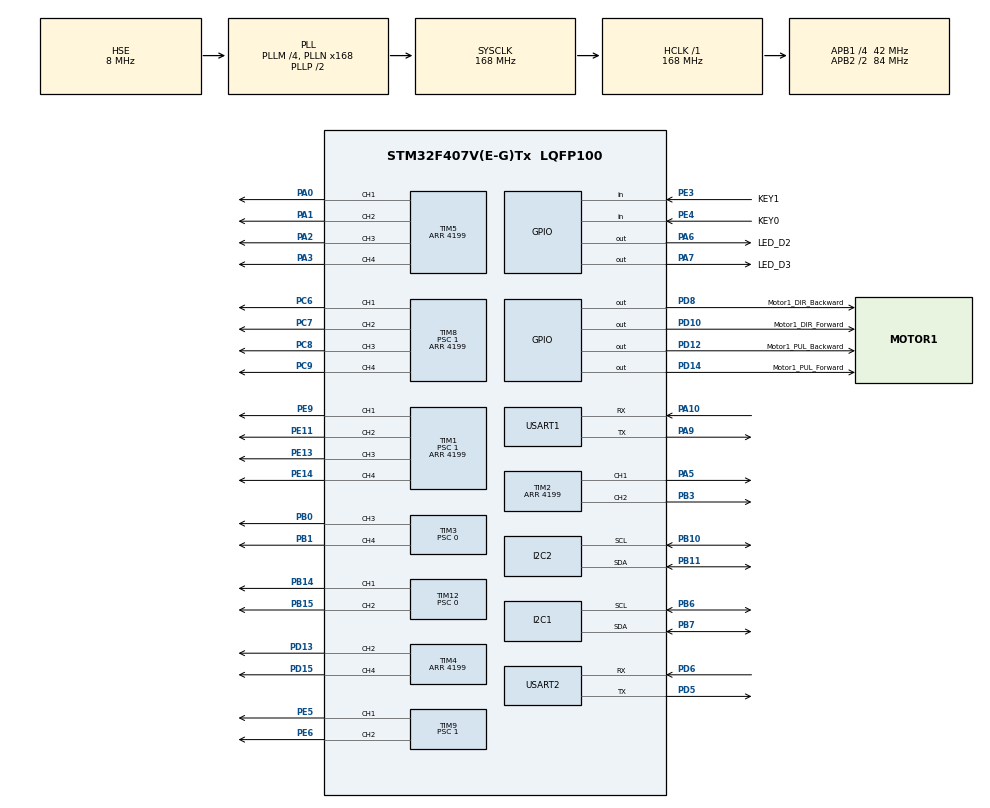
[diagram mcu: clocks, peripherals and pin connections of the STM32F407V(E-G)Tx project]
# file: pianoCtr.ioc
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Dma.Request0=USART2_RX
Dma.Request1=USART2_TX
Dma.USART2_RX.0.Direction=DMA_PERIPH_TO_MEMORY
Dma.USART2_RX.0.FIFOMode=DMA_FIFOMODE_DISABLE
Dma.USART2_RX.0.Instance=DMA1_Stream5
Dma.USART2_RX.0.MemDataAlignment=DMA_MDATAALIGN_BYTE
Dma.USART2_RX.0.MemInc=DMA_MINC_ENABLE
Dma.USART2_RX.0.Mode=DMA_NORMAL
Dma.USART2_RX.0.PeriphDataAlignment=DMA_PDATAALIGN_BYTE
Dma.USART2_RX.0.PeriphInc=DMA_PINC_DISABLE
Dma.USART2_RX.0.Priority=DMA_PRIORITY_MEDIUM
Dma.USART2_TX.1.Direction=DMA_MEMORY_TO_PERIPH
Dma.USART2_TX.1.FIFOMode=DMA_FIFOMODE_DISABLE
Dma.USART2_TX.1.Instance=DMA1_Stream6
Dma.USART2_TX.1.MemDataAlignment=DMA_MDATAALIGN_BYTE
Dma.USART2_TX.1.MemInc=DMA_MINC_ENABLE
Dma.USART2_TX.1.Mode=DMA_NORMAL
Dma.USART2_TX.1.PeriphDataAlignment=DMA_PDATAALIGN_BYTE
Dma.USART2_TX.1.PeriphInc=DMA_PINC_DISABLE
Dma.USART2_TX.1.Priority=DMA_PRIORITY_MEDIUM
Mcu.Family=STM32F4
Mcu.Name=STM32F407V(E-G)Tx
Mcu.Package=LQFP100
NVIC.DMA1_Stream5_IRQn=true\:5\:0\:true\:false\:true\:false\:true\:true
NVIC.DMA1_Stream6_IRQn=true\:5\:0\:true\:false\:true\:false\:true\:true
NVIC.PriorityGroup=NVIC_PRIORITYGROUP_4
NVIC.TIM6_DAC_IRQn=true\:15\:0\:false\:false\:true\:false\:true\:true
NVIC.TIM7_IRQn=true\:6\:0\:true\:false\:true\:true\:true\:true
NVIC.TimeBase=TIM6_DAC_IRQn
NVIC.TimeBaseIP=TIM6
NVIC.USART1_IRQn=true\:9\:0\:true\:false\:true\:true\:true\:true
NVIC.USART2_IRQn=true\:7\:0\:true\:false\:true\:true\:true\:true
PA0-WKUP.Signal=S_TIM5_CH1
PA1.Signal=S_TIM5_CH2
PA10.Mode=Asynchronous
PA10.Signal=USART1_RX
PA13.Mode=Serial_Wire
PA13.Signal=SYS_JTMS-SWDIO
PA14.Mode=Serial_Wire
PA14.Signal=SYS_JTCK-SWCLK
PA2.Signal=S_TIM5_CH3
PA3.Signal=S_TIM5_CH4
PA5.Signal=S_TIM2_CH1_ETR
PA6.GPIO_Label=LED_D2
PA6.Signal=GPIO_Output
PA7.GPIO_Label=LED_D3
PA7.Signal=GPIO_Output
PA9.Mode=Asynchronous
PA9.Signal=USART1_TX
PB0.Signal=S_TIM3_CH3
PB1.Signal=S_TIM3_CH4
PB10.Mode=I2C
PB10.Signal=I2C2_SCL
PB11.Mode=I2C
PB11.Signal=I2C2_SDA
PB14.Signal=S_TIM12_CH1
PB15.Signal=S_TIM12_CH2
PB3.Signal=S_TIM2_CH2
PB6.Mode=I2C
PB6.Signal=I2C1_SCL
PB7.Mode=I2C
PB7.Signal=I2C1_SDA
PC6.Signal=S_TIM8_CH1
PC7.Signal=S_TIM8_CH2
PC8.Signal=S_TIM8_CH3
PC9.Signal=S_TIM8_CH4
PD10.GPIO_Label=Motor1_DIR_Forward
PD10.GPIO_Speed=GPIO_SPEED_FREQ_HIGH
PD10.Signal=GPIO_Output
PD12.GPIO_Label=Motor1_PUL_Backward
PD12.GPIO_Speed=GPIO_SPEED_FREQ_HIGH
PD12.Signal=GPIO_Output
PD13.Signal=S_TIM4_CH2
PD14.GPIO_Label=Motor1_PUL_Forward
PD14.GPIO_Speed=GPIO_SPEED_FREQ_HIGH
PD14.Signal=GPIO_Output
PD15.Signal=S_TIM4_CH4
PD5.Mode=Asynchronous
PD5.Signal=USART2_TX
PD6.Mode=Asynchronous
PD6.Signal=USART2_RX
PD8.GPIO_Label=Motor1_DIR_Backward
PD8.GPIO_Speed=GPIO_SPEED_FREQ_HIGH
PD8.Signal=GPIO_Output
PE11.Signal=S_TIM1_CH2
PE13.Signal=S_TIM1_CH3
PE14.Signal=S_TIM1_CH4
PE3.GPIO_Label=KEY1
PE3.GPIO_PuPd=GPIO_PULLUP
PE3.Signal=GPIO_Input
PE4.GPIO_Label=KEY0
PE4.GPIO_PuPd=GPIO_PULLUP
PE4.Signal=GPIO_Input
PE5.Signal=S_TIM9_CH1
PE6.Signal=S_TIM9_CH2
PE9.Signal=S_TIM1_CH1
PH0-OSC_IN.Mode=HSE-External-Oscillator
PH0-OSC_IN.Signal=RCC_OSC_IN
PH1-OSC_OUT.Mode=HSE-External-Oscillator
PH1-OSC_OUT.Signal=RCC_OSC_OUT
ProjectManager.HeapSize=0x400
ProjectManager.StackSize=0x1000
ProjectManager.TargetToolchain=MDK-ARM V5.32
RCC.48MHZClocksFreq_Value=84000000
RCC.AHBFreq_Value=168000000
RCC.APB1CLKDivider=RCC_HCLK_DIV4
RCC.APB1Freq_Value=42000000
RCC.APB1TimFreq_Value=84000000
RCC.APB2CLKDivider=RCC_HCLK_DIV2
RCC.APB2Freq_Value=84000000
RCC.APB2TimFreq_Value=168000000
RCC.CortexFreq_Value=168000000
RCC.HCLKFreq_Value=168000000
RCC.HSE_VALUE=8000000
RCC.HSI_VALUE=16000000
RCC.LSE_VALUE=32768
RCC.PLLM=4
RCC.PLLN=168
RCC.PLLSourceVirtual=RCC_PLLSOURCE_HSE
RCC.SYSCLKFreq_VALUE=168000000
RCC.SYSCLKSource=RCC_SYSCLKSOURCE_PLLCLK
RCC.VCOOutputFreq_Value=336000000
SH.S_TIM12_CH1.0=TIM12_CH1,PWM Generation1 CH1
SH.S_TIM12_CH2.0=TIM12_CH2,PWM Generation2 CH2
SH.S_TIM1_CH1.0=TIM1_CH1,PWM Generation1 CH1
SH.S_TIM1_CH2.0=TIM1_CH2,PWM Generation2 CH2
SH.S_TIM1_CH3.0=TIM1_CH3,PWM Generation3 CH3
SH.S_TIM1_CH4.0=TIM1_CH4,PWM Generation4 CH4
SH.S_TIM2_CH1_ETR.0=TIM2_CH1,PWM Generation1 CH1
SH.S_TIM2_CH2.0=TIM2_CH2,PWM Generation2 CH2
SH.S_TIM3_CH3.0=TIM3_CH3,PWM Generation3 CH3
SH.S_TIM3_CH4.0=TIM3_CH4,PWM Generation4 CH4
SH.S_TIM4_CH2.0=TIM4_CH2,PWM Generation2 CH2
SH.S_TIM4_CH4.0=TIM4_CH4,PWM Generation4 CH4
SH.S_TIM5_CH1.0=TIM5_CH1,PWM Generation1 CH1
SH.S_TIM5_CH2.0=TIM5_CH2,PWM Generation2 CH2
SH.S_TIM5_CH3.0=TIM5_CH3,PWM Generation3 CH3
SH.S_TIM5_CH4.0=TIM5_CH4,PWM Generation4 CH4
SH.S_TIM8_CH1.0=TIM8_CH1,PWM Generation1 CH1
SH.S_TIM8_CH2.0=TIM8_CH2,PWM Generation2 CH2
SH.S_TIM8_CH3.0=TIM8_CH3,PWM Generation3 CH3
SH.S_TIM8_CH4.0=TIM8_CH4,PWM Generation4 CH4
SH.S_TIM9_CH1.0=TIM9_CH1,PWM Generation1 CH1
SH.S_TIM9_CH2.0=TIM9_CH2,PWM Generation2 CH2
TIM1.AutomaticOutput=TIM_AUTOMATICOUTPUT_ENABLE
TIM1.Channel-PWM\ Generation1\ CH1=TIM_CHANNEL_1
TIM1.Channel-PWM\ Generation2\ CH2=TIM_CHANNEL_2
TIM1.Channel-PWM\ Generation3\ CH3=TIM_CHANNEL_3
TIM1.Channel-PWM\ Generation4\ CH4=TIM_CHANNEL_4
TIM1.Period=4199
TIM1.Prescaler=1
TIM1.TIM_MasterOutputTrigger=TIM_TRGO_UPDATE
TIM12.Channel-PWM\ Generation1\ CH1=TIM_CHANNEL_1
TIM12.Channel-PWM\ Generation2\ CH2=TIM_CHANNEL_2
TIM12.Period=4199
TIM12.Prescaler=0
TIM2.Channel-PWM\ Generation1\ CH1=TIM_CHANNEL_1
TIM2.Channel-PWM\ Generation2\ CH2=TIM_CHANNEL_2
TIM2.Period=4199
TIM3.Channel-PWM\ Generation3\ CH3=TIM_CHANNEL_3
TIM3.Channel-PWM\ Generation4\ CH4=TIM_CHANNEL_4
TIM3.Period=4199
TIM3.Prescaler=0
TIM4.Channel-PWM\ Generation2\ CH2=TIM_CHANNEL_2
TIM4.Channel-PWM\ Generation4\ CH4=TIM_CHANNEL_4
TIM4.Period=4199
TIM5.Channel-PWM\ Generation1\ CH1=TIM_CHANNEL_1
TIM5.Channel-PWM\ Generation2\ CH2=TIM_CHANNEL_2
TIM5.Channel-PWM\ Generation3\ CH3=TIM_CHANNEL_3
TIM5.Channel-PWM\ Generation4\ CH4=TIM_CHANNEL_4
TIM5.Period=4199
TIM7.Period=199
TIM7.Prescaler=5
TIM8.AutomaticOutput=TIM_AUTOMATICOUTPUT_ENABLE
TIM8.Channel-PWM\ Generation1\ CH1=TIM_CHANNEL_1
TIM8.Channel-PWM\ Generation2\ CH2=TIM_CHANNEL_2
TIM8.Channel-PWM\ Generation3\ CH3=TIM_CHANNEL_3
TIM8.Channel-PWM\ Generation4\ CH4=TIM_CHANNEL_4
TIM8.Period=4199
TIM8.Prescaler=1
TIM9.Channel-PWM\ Generation1\ CH1=TIM_CHANNEL_1
TIM9.Channel-PWM\ Generation2\ CH2=TIM_CHANNEL_2
TIM9.Period=4199
TIM9.Prescaler=1
USART1.VirtualMode=VM_ASYNC
USART2.VirtualMode=VM_ASYNC
VP_SYS_VS_tim6.Mode=TIM6
VP_TIM1_VS_ClockSourceINT.Mode=Internal
VP_TIM3_VS_ClockSourceINT.Mode=Internal
VP_TIM7_VS_ClockSourceINT.Mode=Enable_Timer
board=custom

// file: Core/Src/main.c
/* USER CODE BEGIN Header */
/**
 ******************************************************************************
 * @file           : main.c
 * @brief          : Main program body
 ******************************************************************************
 * @attention
 *
 * Copyright (c) 2024 STMicroelectronics.
 * All rights reserved.
 *
 * This software is licensed under terms that can be found in the LICENSE file
 * in the root directory of this software component.
 * If no LICENSE file comes with this software, it is provided AS-IS.
 *
 ******************************************************************************
 */
/* USER CODE END Header */
#include "main.h"
#include "dma.h"
#include "i2c.h"
#include "tim.h"
#include "usart.h"
#include "gpio.h"

/* USER CODE BEGIN Includes */
#include "MCU_BSP.h"
#include "PCA9685.h"
#include "TASK.h"
#include "app_piano.h"
#include "oled.h"
#include "stepper_motor.h"
/* USER CODE END Includes */

void SystemClock_Config(void);

int main(void)
{
    /* USER CODE BEGIN 1 */

    uint8_t flag = 0;

    /* USER CODE END 1 */

    /* MCU Configuration--------------------------------------------------------*/

    /* Reset of all peripherals, Initializes the Flash interface and the Systick. */
    HAL_Init();

    /* Configure the system clock */
    SystemClock_Config();

    /* Initialize all configured peripherals */
    MX_GPIO_Init();
    MX_DMA_Init();
    MX_USART1_UART_Init();
    MX_USART2_UART_Init();
    MX_TIM3_Init();
    MX_TIM7_Init();
    MX_TIM1_Init();
    MX_TIM2_Init();
    MX_TIM4_Init();
    MX_TIM5_Init();
    MX_TIM8_Init();
    MX_TIM9_Init();
    MX_TIM12_Init();
    MX_I2C1_Init();
    MX_I2C2_Init();
    /* USER CODE BEGIN 2 */

    MCU_InternalPeripheral_Init();
    PCA9685_Init();
    LED_Init();
    OLED_Init();
    OLED_Clear();
    PianoPlayInit();
    StepperMotor_Init();

    printf("MCU Start\r\n");

    OLED_ShowString(0, 0, (uint8_t *)"MCU Star", 16);
    OLED_ShowString(0, 2, (uint8_t *)"       ", 16);
    OLED_ShowString(0, 4, (uint8_t *)"  ", 16);
    OLED_ShowString(0, 6, (uint8_t *)"  ", 16);

    /* USER CODE END 2 */

    /* Infinite loop */
    while (1)
    {

        /* USER CODE BEGIN 3 */

        /**
         * @brief Play midi and Tech
         *
         */
         if (flag == 0)
         {
             PianoMidiPlay(midiMsg_lingya, 100);
             //flag = 1;
         }
         HAL_Delay(2000);
        // PianoMidiTeaching(midiMsg_lingya, 8);

        /**
         * @brief PianoPlayTest_DB
         *
         */
        // if (flag == 0)
        // {
        //     PianoPlayTest_DB(2000, 32);
        //     flag = 1;
        // }

        /**
         * @brief Stepper Motor Test
         *
         */
        // stepper_turn(1,180,8,0);

        /**
         * @brief Hand TEST
         *
         */

        // PCA9685_PWM_Set(0, 0.1);

        // Hand_Test();
        // Hand_Test2();
        // Hand_Test3();

        /**
         * @brief Key Test
         *
         */
//        if (HAL_GPIO_ReadPin(KEY0_GPIO_Port, KEY0_Pin) == 0)
//        {
//            HAL_Delay(10);
//            if (HAL_GPIO_ReadPin(KEY0_GPIO_Port, KEY0_Pin) == 0)
//            {
//                OLED_ShowString(0, 6, (uint8_t *)"Key0 Catch", 16);
//                Hand_Catch();
//            }
//        }

//        if (HAL_GPIO_ReadPin(KEY1_GPIO_Port, KEY1_Pin) == 0)
//        {
//            HAL_Delay(10);
//            if (HAL_GPIO_ReadPin(KEY1_GPIO_Port, KEY1_Pin) == 0)
//            {
//                OLED_ShowString(0, 6, (uint8_t *)"Key1 Release", 16);
//                Hand_Release();
//            }
//        }

        /**
         * @brief LED Toggle
         *
         */
        // LED_D2_Toggle;
        // HAL_Delay(1000);
    }
    /* USER CODE END 3 */
}

void SystemClock_Config(void)
{
    RCC_OscInitTypeDef RCC_OscInitStruct = {0};
    RCC_ClkInitTypeDef RCC_ClkInitStruct = {0};

    /** Configure the main internal regulator output voltage
     */
    __HAL_RCC_PWR_CLK_ENABLE();
    __HAL_PWR_VOLTAGESCALING_CONFIG(PWR_REGULATOR_VOLTAGE_SCALE1);

    /** Initializes the RCC Oscillators according to the specified parameters
     * in the RCC_OscInitTypeDef structure.
     */
    RCC_OscInitStruct.OscillatorType = RCC_OSCILLATORTYPE_HSE;
    RCC_OscInitStruct.HSEState = RCC_HSE_ON;
    RCC_OscInitStruct.PLL.PLLState = RCC_PLL_ON;
    RCC_OscInitStruct.PLL.PLLSource = RCC_PLLSOURCE_HSE;
    RCC_OscInitStruct.PLL.PLLM = 4;
    RCC_OscInitStruct.PLL.PLLN = 168;
    RCC_OscInitStruct.PLL.PLLP = RCC_PLLP_DIV2;
    RCC_OscInitStruct.PLL.PLLQ = 4;
    if (HAL_RCC_OscConfig(&RCC_OscInitStruct) != HAL_OK)
    {
        Error_Handler();
    }

    /** Initializes the CPU, AHB and APB buses clocks
     */
    RCC_ClkInitStruct.ClockType = RCC_CLOCKTYPE_HCLK | RCC_CLOCKTYPE_SYSCLK | RCC_CLOCKTYPE_PCLK1 | RCC_CLOCKTYPE_PCLK2;
    RCC_ClkInitStruct.SYSCLKSource = RCC_SYSCLKSOURCE_PLLCLK;
    RCC_ClkInitStruct.AHBCLKDivider = RCC_SYSCLK_DIV1;
    RCC_ClkInitStruct.APB1CLKDivider = RCC_HCLK_DIV4;
    RCC_ClkInitStruct.APB2CLKDivider = RCC_HCLK_DIV2;

    if (HAL_RCC_ClockConfig(&RCC_ClkInitStruct, FLASH_LATENCY_5) != HAL_OK)
    {
        Error_Handler();
    }
}

void HAL_TIM_PeriodElapsedCallback(TIM_HandleTypeDef *htim)
{
    if (htim->Instance == TIM6)
    {
        HAL_IncTick();
    }
}

void Error_Handler(void)
{
    __disable_irq();
    while (1)
    {
    }
}
